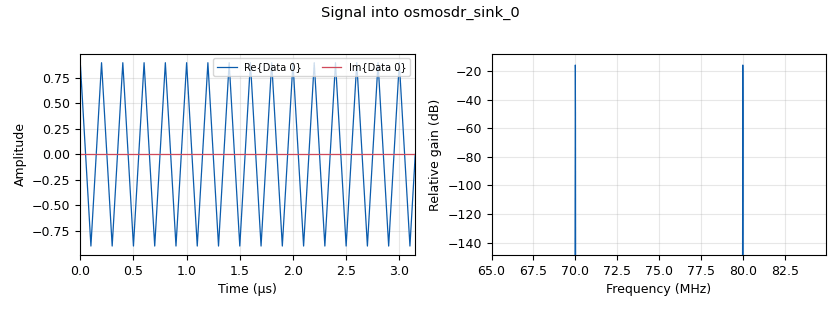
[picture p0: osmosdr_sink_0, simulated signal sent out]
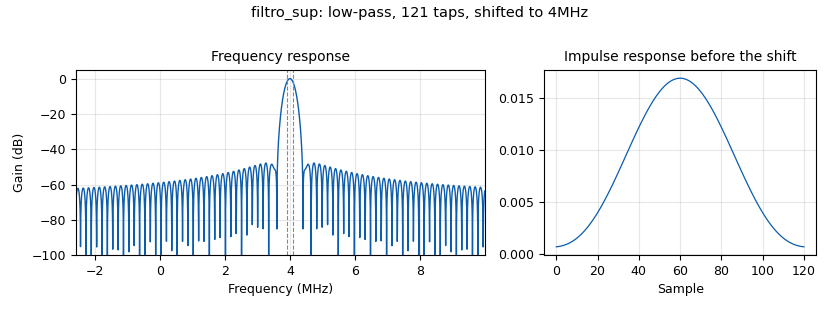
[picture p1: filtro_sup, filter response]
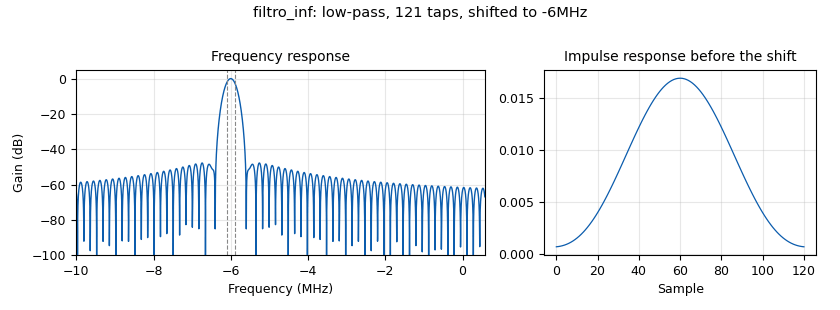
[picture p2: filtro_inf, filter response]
options:
  parameters:
    description: 'bladeRF 2.0 micro xA9: transmite dos tonos en +/-5 MHz y los mide con su propio receptor por cable. Version 2: el receptor se sintoniza 1 MHz por encima del transmisor, para que cada tono caiga en una frecuencia propia y la lectura no dependa de la fase entre los dos osciladores. Sin codigo Python'
    generate_options: qt_gui
    id: exp18_a9_lazo_rx_corrido
    output_language: python
    title: 'EXP-18 v2 xA9: lazo TX1 a RX1 con el receptor corrido'
  states: {}

blocks:
- name: samp_rate
  id: variable
  parameters:
    comment: |-
      Tasa de muestreo, comun a TX y RX. En esta
      PC no pasar de 25e6
    value: 20e6
  states: {}
- name: f_tono
  id: variable
  parameters:
    comment: 'Dos tonos: en +f_tono y en -f_tono'
    value: 5e6
  states: {}
- name: ancho_banda
  id: variable
  parameters:
    comment: Filtro analogico de la placa, en TX y en RX
    value: 18e6
  states: {}
- name: tope
  id: variable
  parameters:
    comment: |-
      Tope de seguridad de la ganancia de TX con
      el cable al receptor: con 30 dB salen unos
      -27 dBm como maximo
    value: '30'
  states: {}
- name: import_0
  id: import
  parameters:
    imports: import math
  states: {}
- name: decim
  id: variable
  parameters:
    comment: El filtro de cada tono baja la tasa a 1 MSPS
    value: int(samp_rate / 1e6)
  states: {}
- name: taps
  id: variable_low_pass_filter_taps
  parameters:
    comment: Pasabajos que deja solo el tono elegido
    gain: '1.0'
    samp_rate: samp_rate
    cutoff_freq: 100e3
    width: 400e3
    win: window.WIN_HAMMING
  states: {}
- name: largo_promedio
  id: variable
  parameters:
    comment: 'Muestras que se promedian: 0,1 s a 1 MSPS'
    value: '100000'
  states: {}
- name: nivel_inf
  id: variable_function_probe
  parameters:
    block_id: sonda_inf
    comment: |-
      Nivel del tono inferior leido por el RX, en
      dB
    function_name: level
    poll_rate: '5'
    value: '-120'
  states: {}
- name: nivel_sup
  id: variable_function_probe
  parameters:
    block_id: sonda_sup
    comment: |-
      Nivel del tono superior leido por el RX, en
      dB
    function_name: level
    poll_rate: '5'
    value: '-120'
  states: {}
- name: portadora
  id: variable_qtgui_chooser
  parameters:
    gui_hint: 1,0,1,2
    label: Portadora
    labels: '[''75 MHz'', ''135 MHz'', ''195 MHz'', ''255 MHz'', ''315 MHz'', ''335 MHz'', ''415 MHz'']'
    options: '[75, 135, 195, 255, 315, 335, 415]'
    num_opts: '0'
    type: int
    value: '75'
  states: {}
- name: ganancia_tx
  id: variable_qtgui_chooser
  parameters:
    gui_hint: 1,2,1,2
    label: Ganancia de TX
    labels: '[''0 dB'', ''10 dB'', ''20 dB'', ''30 dB'']'
    options: '[0, 10, 20, 30]'
    num_opts: '0'
    type: int
    value: '0'
  states: {}
- name: amp
  id: variable_qtgui_chooser
  parameters:
    gui_hint: 1,4,1,2
    label: Amplitud de cada tono
    labels: '[''0.05'', ''0.1'', ''0.2'', ''0.45'']'
    options: '[0.05, 0.1, 0.2, 0.45]'
    num_opts: '0'
    type: real
    value: '0.45'
  states: {}
- name: hab_inf
  id: variable_qtgui_check_box
  parameters:
    gui_hint: 2,0,1,1
    label: Tono inferior
    type: int
    'true': '1'
    'false': '0'
    value: '1'
  states: {}
- name: hab_sup
  id: variable_qtgui_check_box
  parameters:
    gui_hint: 2,1,1,1
    label: Tono superior
    type: int
    'true': '1'
    'false': '0'
    value: '1'
  states: {}
- name: rx_gain
  id: variable_qtgui_chooser
  parameters:
    gui_hint: 2,2,1,2
    label: Ganancia de RX
    labels: '[''0 dB'', ''10 dB'', ''20 dB'', ''30 dB'', ''40 dB'', ''50 dB'', ''60 dB'']'
    options: '[0, 10, 20, 30, 40, 50, 60]'
    num_opts: '0'
    type: int
    value: '10'
  states: {}
- name: corrimiento
  id: variable_qtgui_chooser
  parameters:
    comment: |-
      Cuanto mas arriba que el transmisor se
      sintoniza el receptor
    gui_hint: 2,4,1,2
    label: Corrimiento del RX
    labels: '[''0 (igual que el TX)'', ''1 MHz'', ''2 MHz'']'
    options: '[0, 1, 2]'
    num_opts: '0'
    type: int
    value: '1'
  states: {}
- name: freq
  id: variable
  parameters:
    comment: Frecuencia del transmisor, en Hz
    value: portadora * 1e6
  states: {}
- name: freq_rx
  id: variable
  parameters:
    comment: |-
      Frecuencia del receptor: la del transmisor
      mas el corrimiento
    value: freq + corrimiento * 1e6
  states: {}
- name: tx_gain
  id: variable
  parameters:
    comment: |-
      Ganancia que recibe la placa: nunca supera
      el tope
    value: min(ganancia_tx, tope)
  states: {}
- name: nivel_estimado
  id: variable
  parameters:
    comment: |-
      dBm por tono, segun el EXP-17: -33 dBm con
      ganancia 30 y amplitud 0.45
    value: tx_gain - 56 + 20 * math.log10(amp)
  states: {}
- name: nivel_mayor
  id: variable
  parameters:
    comment: El mas alto de los dos tonos recibidos
    value: max(nivel_inf, nivel_sup)
  states: {}
- name: estado
  id: variable
  parameters:
    comment: |-
      Zona de trabajo del receptor: entre -30 y
      -12 dB
    value: '''SIN SENAL'' if nivel_mayor < -75 else (''BAJO: se puede subir la ganancia de RX'' if nivel_mayor < -30 else (''BIEN'' if nivel_mayor < -12 else ''ALTO: bajar la ganancia de RX''))'
  states: {}
- name: et_tx
  id: variable_qtgui_label
  parameters:
    formatter: 'lambda x: "<span style=''font-size:13pt''><b>" + str(x) + "</b></span>"'
    gui_hint: 0,0,1,6
    label: '<span style=''font-size:13pt''>Transmite: </span>'
    type: string
    value: '''%.0f y %.0f MHz, ganancia %d dB, unos %.0f dBm por tono. Recibe centrado en %.0f MHz'' % ((freq - f_tono) / 1e6, (freq + f_tono) / 1e6, tx_gain, nivel_estimado, freq_rx / 1e6)'
  states: {}
- name: et_estado
  id: variable_qtgui_label
  parameters:
    formatter: 'lambda x: "<span style=''font-size:13pt''><b>" + str(x) + "</b></span>"'
    gui_hint: 4,0,1,6
    label: '<span style=''font-size:13pt''>Receptor: </span>'
    type: string
    value: estado
  states: {}
- name: et_inf
  id: variable_qtgui_label
  parameters:
    formatter: 'lambda x: "<span style=''font-size:15pt''><b>%.1f dB</b></span>" % x'
    gui_hint: 3,0,1,2
    label: '<span style=''font-size:15pt''>RX inferior: </span>'
    type: real
    value: nivel_inf
  states: {}
- name: et_sup
  id: variable_qtgui_label
  parameters:
    formatter: 'lambda x: "<span style=''font-size:15pt''><b>%.1f dB</b></span>" % x'
    gui_hint: 3,2,1,2
    label: '<span style=''font-size:15pt''>RX superior: </span>'
    type: real
    value: nivel_sup
  states: {}
- name: et_dif
  id: variable_qtgui_label
  parameters:
    formatter: 'lambda x: "<span style=''font-size:15pt''><b>%+.1f dB</b></span>" % x'
    gui_hint: 3,4,1,2
    label: '<span style=''font-size:15pt''>Superior - inferior: </span>'
    type: real
    value: nivel_sup - nivel_inf
  states: {}
- name: tono_superior
  id: analog_sig_source_x
  parameters:
    comment: Sale en portadora + 5 MHz
    amp: amp * hab_sup
    freq: f_tono
    offset: '0'
    phase: '0'
    samp_rate: samp_rate
    type: complex
    waveform: analog.GR_COS_WAVE
  states: {}
- name: tono_inferior
  id: analog_sig_source_x
  parameters:
    comment: Sale en portadora - 5 MHz
    amp: amp * hab_inf
    freq: '-f_tono'
    offset: '0'
    phase: '0'
    samp_rate: samp_rate
    type: complex
    waveform: analog.GR_COS_WAVE
  states: {}
- name: suma
  id: blocks_add_xx
  parameters:
    type: complex
  states: {}
- name: osmosdr_sink_0
  id: osmosdr_sink
  parameters:
    args: bladerf=321e0fa5875945d99b11070bb0a76d31
    bb_gain0: '0'
    bw0: ancho_banda
    comment: bladeRF 2.0 micro xA9, salida TX1
    freq0: freq
    gain0: tx_gain
    if_gain0: '0'
    sample_rate: samp_rate
    sync: sync
    type: fc32
  states: {}
- name: osmosdr_source_0
  id: osmosdr_source
  parameters:
    comment: |-
      bladeRF 2.0 micro xA9, entrada RX1. Ganancia
      manual. Sintonizado en freq_rx
    type: fc32
    args: bladerf=321e0fa5875945d99b11070bb0a76d31
    sync: sync
    sample_rate: samp_rate
    freq0: freq_rx
    gain_mode0: 'False'
    gain0: rx_gain
    if_gain0: '0'
    bb_gain0: '0'
    bw0: ancho_banda
  states: {}
- name: filtro_sup
  id: freq_xlating_fir_filter_xxx
  parameters:
    comment: |-
      Deja solo el tono superior: lo busca en +5
      MHz menos el corrimiento
    type: ccf
    decim: decim
    taps: taps
    center_freq: f_tono - corrimiento * 1e6
    samp_rate: samp_rate
  states: {}
- name: potencia_sup
  id: blocks_complex_to_mag_squared
  parameters:
    comment: Potencia instantanea
  states: {}
- name: promedio_sup
  id: blocks_moving_average_xx
  parameters:
    comment: Promedia los ultimos 0,1 s
    type: float
    length: largo_promedio
    scale: 1.0 / largo_promedio
    max_iter: '4000'
  states: {}
- name: a_db_sup
  id: blocks_nlog10_ff
  parameters:
    comment: 'Pasa a dB: 10 log10'
    n: '10'
    k: '0'
  states: {}
- name: sonda_sup
  id: blocks_probe_signal_x
  parameters:
    comment: Deja leer el valor desde un Function Probe
    type: float
  states: {}
- name: filtro_inf
  id: freq_xlating_fir_filter_xxx
  parameters:
    comment: |-
      Deja solo el tono inferior: lo busca en -5
      MHz menos el corrimiento
    type: ccf
    decim: decim
    taps: taps
    center_freq: '-f_tono - corrimiento * 1e6'
    samp_rate: samp_rate
  states: {}
- name: potencia_inf
  id: blocks_complex_to_mag_squared
  parameters:
    comment: Potencia instantanea
  states: {}
- name: promedio_inf
  id: blocks_moving_average_xx
  parameters:
    comment: Promedia los ultimos 0,1 s
    type: float
    length: largo_promedio
    scale: 1.0 / largo_promedio
    max_iter: '4000'
  states: {}
- name: a_db_inf
  id: blocks_nlog10_ff
  parameters:
    comment: 'Pasa a dB: 10 log10'
    n: '10'
    k: '0'
  states: {}
- name: sonda_inf
  id: blocks_probe_signal_x
  parameters:
    comment: Deja leer el valor desde un Function Probe
    type: float
  states: {}
- name: espectro
  id: qtgui_freq_sink_x
  parameters:
    type: complex
    name: '"Lo que recibe RX1 (para ver la forma; los niveles que valen son los de arriba)"'
    fftsize: '1024'
    fc: freq_rx
    bw: samp_rate
    grid: 'True'
    average: '0.2'
    ymin: '-120'
    ymax: '0'
    label: Nivel
    update_time: '0.20'
    gui_hint: 5,0,1,6
    legend: 'False'
  states: {}

connections:
- [tono_superior, '0', suma, '0']
- [tono_inferior, '0', suma, '1']
- [suma, '0', osmosdr_sink_0, '0']
- [filtro_sup, '0', potencia_sup, '0']
- [potencia_sup, '0', promedio_sup, '0']
- [promedio_sup, '0', a_db_sup, '0']
- [a_db_sup, '0', sonda_sup, '0']
- [osmosdr_source_0, '0', filtro_sup, '0']
- [filtro_inf, '0', potencia_inf, '0']
- [potencia_inf, '0', promedio_inf, '0']
- [promedio_inf, '0', a_db_inf, '0']
- [a_db_inf, '0', sonda_inf, '0']
- [osmosdr_source_0, '0', filtro_inf, '0']
- [osmosdr_source_0, '0', espectro, '0']

metadata:
  file_format: 1
  grc_version: 3.10.12.0
